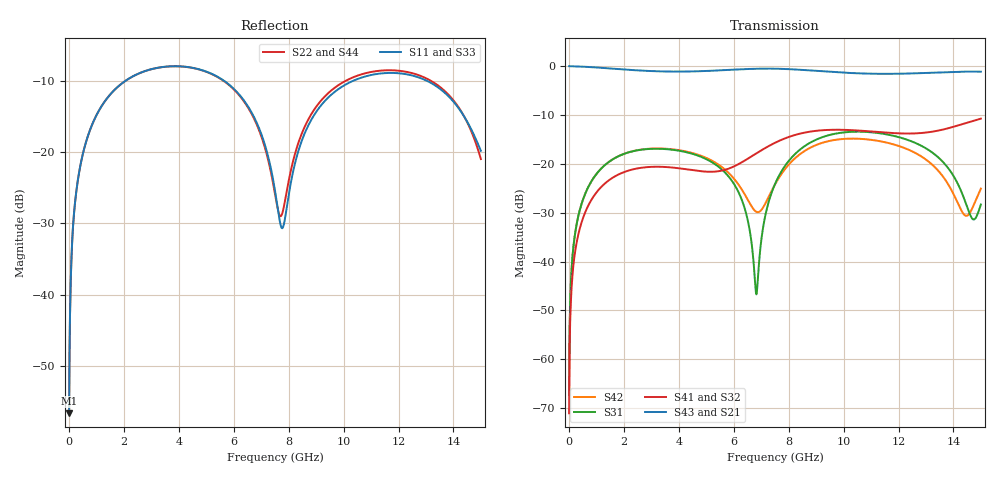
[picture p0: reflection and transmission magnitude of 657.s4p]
! Created with skrf 1.8.0 (http://scikit-rf.org).
# GHz S RI R 50.0
!freq ReS11 ImS11 ReS12 ImS12 ReS13 ImS13
! ReS14 ImS14
! ReS21 ImS21 ReS22 ImS22 ReS23 ImS23
! ReS24 ImS24
! ReS31 ImS31 ReS32 ImS32 ReS33 ImS33
! ReS34 ImS34
! ReS41 ImS41 ReS42 ImS42 ReS43 ImS43
! ReS44 ImS44
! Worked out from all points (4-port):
!   2499 points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, 5 MHz to 15 GHz, reference 50 ohm
!   strongest paths, dB at 5 MHz, 3.476 GHz, 7.19 GHz, 11.1 GHz, 15 GHz:
!     S43: 0.0, -1.1, -0.5, -1.6, -1.1
!     S21: 0.0, -1.1, -0.5, -1.6, -1.1
!     S41: -71.1, -20.6, -16.6, -13.4, -10.8
!     S32: -71.1, -20.6, -16.6, -13.3, -10.8
!     S31: -67.2, -17.0, -29.6, -13.6, -28.3
!     S42: -67.2, -16.9, -27.7, -15.2, -25.1
!   lowest |S11| = -56.7 dB at 5 MHz (marker M1), VSWR 1.00, Z = 50.1 + j0.0894 ohm
!   |S11| at or under -10 dB: start of sweep to 2.063 GHz; 5.642 GHz to 10.36 GHz (4.713 GHz wide, 58.9 % of centre); 13.03 GHz to end of sweep
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0.005  0.00117 0.000892  0.9988 -0.00228  5.63e-05 0.000431  -5.49e-05 -0.000274
       0.9988 -0.00228  0.00117 0.000892  -5.49e-05 -0.000274  5.63e-05 0.000431
       5.63e-05 0.000431  -5.49e-05 -0.000274  0.00117 0.000892  0.9988 -0.00228
       -5.49e-05 -0.000274  5.63e-05 0.000431  0.9988 -0.00228  0.00117 0.000892
0.4126719  0.0205 0.0774  0.9717 -0.1865  0.00901 0.034  -0.00757 -0.0215
           0.9717 -0.1865  0.0205 0.0774  -0.00758 -0.0215  0.00909 0.034
           0.00901 0.034  -0.00758 -0.0215  0.0205 0.0774  0.9717 -0.1865
           -0.00757 -0.0215  0.00909 0.034  0.9717 -0.1865  0.0205 0.0774
2.025844  0.2484 0.1899  0.5978 -0.7029  0.1105 0.0626  -0.0816 -0.0138
          0.5978 -0.7029  0.248 0.1901  -0.0817 -0.0137  0.1118 0.0611
          0.1105 0.0626  -0.0817 -0.0137  0.2483 0.19  0.5977 -0.703
          -0.0816 -0.0138  0.1118 0.0611  0.5977 -0.703  0.2481 0.19
5.652355  0.2527 -0.1884  -0.544 -0.729  0.0592 -0.0583  -0.0475 0.0721
          -0.544 -0.729  0.2532 -0.1842  -0.0467 0.0733  0.0453 -0.0763
          0.0592 -0.0583  -0.0467 0.0733  0.2525 -0.188  -0.5442 -0.729
          -0.0475 0.0721  0.0453 -0.0763  -0.5442 -0.729  0.2529 -0.1844
6.821592  0.0815 -0.141  -0.8485 -0.4041  0.00456 0.000755  -0.0521 0.1168
          -0.8485 -0.4041  0.084 -0.1343  -0.0501 0.1177  -0.0287 -0.0149
          0.00456 0.000755  -0.0501 0.1177  0.0811 -0.1405  -0.8487 -0.4039
          -0.0521 0.1168  -0.0287 -0.0149  -0.8487 -0.4039  0.0838 -0.1338
7.815757  0.0299 0.00618  -0.9359 -0.00954  0.0336 0.0842  0.00259 0.1798
          -0.9359 -0.00954  0.0374 0.0153  0.00534 0.1798  -0.0153 0.0832
          0.0336 0.0842  0.00534 0.1798  0.0293 0.0069  -0.9359 -0.00907
          0.00259 0.1798  -0.0153 0.0832  -0.9359 -0.00907  0.0379 0.0164
15  0.0807 -0.0623  0.8292 0.2849  -0.0181 0.0338  0.0945 -0.2742
    0.8292 0.2849  0.0588 -0.0671  0.0846 -0.2773  -0.0333 0.0448
    -0.0181 0.0338  0.0846 -0.2773  0.0837 -0.0619  0.8291 0.2849
    0.0945 -0.2742  -0.0333 0.0448  0.8291 0.2849  0.0564 -0.0677
